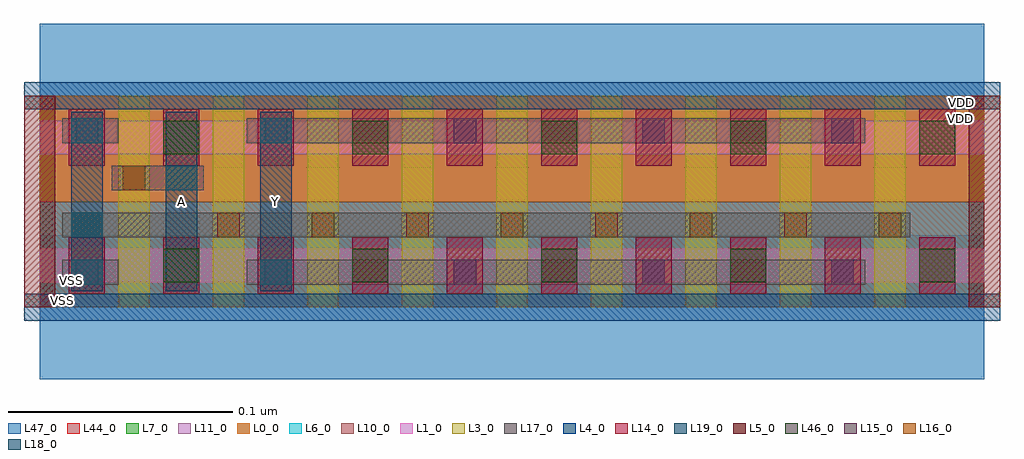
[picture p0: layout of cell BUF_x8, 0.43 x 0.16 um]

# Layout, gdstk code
import gdstk
lib = gdstk.Library(unit=1e-6, precision=5e-10)
def R(c, l, rs):  # rectangles x0, y0, x1, y1
    for r in rs: c.add(gdstk.rectangle(r[:2], r[2:], *l))
def A(c, l, x, y, w, h, nx, ny, dx, dy):  # array of equal rectangles
    R(c, l, [(x+i*dx, y+j*dy, x+i*dx+w, y+j*dy+h) for i in range(nx) for j in range(ny)])
L0_0 = (0, 0)
L1_0 = (1, 0)
L3_0 = (3, 0)
L4_0 = (4, 0)
L5_0 = (5, 0)
L6_0 = (6, 0)
L7_0 = (7, 0)
L10_0 = (10, 0)
L11_0 = (11, 0)
L14_0 = (14, 0)
L15_0 = (15, 0)
L16_0 = (16, 0)
L17_0 = (17, 0)
L18_0 = (18, 0)
L19_0 = (19, 0)
L44_0 = (44, 0)
L46_0 = (46, 0)
L47_0 = (47, 0)

buf_x8 = lib.new_cell('BUF_x8')
R(buf_x8, L0_0, [(0,0.047,0.42,0.094)])
R(buf_x8, L1_0, [(0,0.011,0.42,0.026), (0,0.068,0.42,0.083)])
A(buf_x8, L3_0, 0.035, 0, 0.014, 0.094, 9, 1, 0.042, 0)
R(buf_x8, L4_0, [(-0.007,-0.006,0.427,0.006), (-0.007,0.088,0.427,0.1)])
R(buf_x8, L5_0, [(-0.007,0,0.007,0.094), (0.413,0,0.427,0.094)])
R(buf_x8, L6_0, [(0,0,0.42,0.047)])
R(buf_x8, L7_0, [(0,0.047,0.42,0.094)])
R(buf_x8, L10_0, [(0,0,0.42,0.047)])
R(buf_x8, L11_0, [(0,0.047,0.42,0.094)])
A(buf_x8, L14_0, 0.013, 0.006, 0.016, 0.025, 10, 2, 0.042, 0.057)
A(buf_x8, L15_0, 0.016, 0.01, 0.01, 0.011, 5, 2, 0.084, 0.063)
A(buf_x8, L16_0, 0.079, 0.031, 0.01, 0.011, 8, 1, 0.042, 0)
R(buf_x8, L16_0, [(0.037,0.052,0.047,0.063)])
R(buf_x8, L17_0, [(0.01,0.01,0.035,0.021), (0.092,0.01,0.367,0.021), (0.01,0.031,0.387,0.042), (0.032,0.052,0.073,0.063), (0.01,0.073,0.035,0.084), (0.092,0.073,0.367,0.084)])
R(buf_x8, L18_0, [(0.014,0.01,0.028,0.021), (0.098,0.01,0.112,0.021), (0.014,0.031,0.028,0.042), (0.056,0.052,0.07,0.063), (0.014,0.073,0.028,0.084), (0.098,0.073,0.112,0.084)])
A(buf_x8, L19_0, 0.014, 0.007, 0.014, 0.08, 3, 1, 0.042, 0)
R(buf_x8, L44_0, [(0,0,0.42,0.094)])
A(buf_x8, L46_0, 0.055, 0.011, 0.016, 0.015, 5, 2, 0.084, 0.057)
R(buf_x8, L47_0, [(0,-0.032,0.42,0.032), (0,0.062,0.42,0.126)])
buf_x8.add(gdstk.Label('VSS', (0.01,0.003), layer=54, texttype=2))
buf_x8.add(gdstk.Label('Y', (0.105,0.047), layer=19, texttype=2))
buf_x8.add(gdstk.Label('A', (0.063,0.047), layer=19, texttype=2))
buf_x8.add(gdstk.Label('VDD', (0.41,0.091), layer=0, texttype=2))
buf_x8.add(gdstk.Label('VSS', (0.014,0.012), layer=47, texttype=2))
buf_x8.add(gdstk.Label('VDD', (0.4095,0.084), layer=47, texttype=2))

lib.write_gds('BUF_x8.gds')
